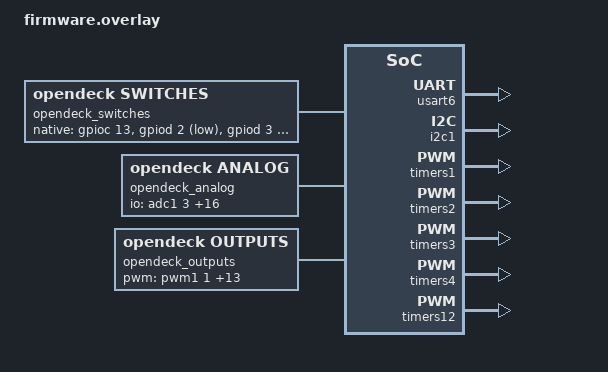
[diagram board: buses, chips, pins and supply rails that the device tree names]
/ {
    chosen {
        zephyr,console = &usart3;
        zephyr,shell-uart = &usart3;
    };

    opendeck_metadata: opendeck-metadata {
        compatible = "opendeck,metadata";
        zephyr-board = "nucleo_f767zi/stm32f767xx";
        board-name = "Nucleo F767ZI";
    };

    opendeck_transports: opendeck-transports {
        compatible = "opendeck,transports";
        uart = <&opendeck_uart_din_midi>;
        network;
    };

    opendeck_tests: opendeck-tests {
        compatible = "opendeck,tests";
        host;
    };

    opendeck_bulk_build: opendeck-bulk-build {
        compatible = "opendeck,bulk-build";
        app;
    };

    opendeck_switches: opendeck-switches {
        compatible = "opendeck,switches";
        mode = "native";
        native-gpios =
            <&gpioc 13 (GPIO_PULL_DOWN | GPIO_ACTIVE_HIGH)>,
            <&gpiod 2 (GPIO_PULL_UP | GPIO_ACTIVE_LOW)>,
            <&gpiod 3 (GPIO_PULL_UP | GPIO_ACTIVE_LOW)>,
            <&gpiod 4 (GPIO_PULL_UP | GPIO_ACTIVE_LOW)>,
            <&gpiod 5 (GPIO_PULL_UP | GPIO_ACTIVE_LOW)>,
            <&gpiod 6 (GPIO_PULL_UP | GPIO_ACTIVE_LOW)>,
            <&gpiod 7 (GPIO_PULL_UP | GPIO_ACTIVE_LOW)>,
            <&gpioe 2 (GPIO_PULL_UP | GPIO_ACTIVE_LOW)>,
            <&gpioe 3 (GPIO_PULL_UP | GPIO_ACTIVE_LOW)>,
            <&gpioe 4 (GPIO_PULL_UP | GPIO_ACTIVE_LOW)>,
            <&gpioe 5 (GPIO_PULL_UP | GPIO_ACTIVE_LOW)>,
            <&gpioe 6 (GPIO_PULL_UP | GPIO_ACTIVE_LOW)>,
            <&gpioe 7 (GPIO_PULL_UP | GPIO_ACTIVE_LOW)>,
            <&gpioe 8 (GPIO_PULL_UP | GPIO_ACTIVE_LOW)>,
            <&gpioe 9 (GPIO_PULL_UP | GPIO_ACTIVE_LOW)>,
            <&gpioe 10 (GPIO_PULL_UP | GPIO_ACTIVE_LOW)>,
            <&gpiob 6 (GPIO_PULL_UP | GPIO_ACTIVE_LOW)>,
            <&gpiob 12 (GPIO_PULL_UP | GPIO_ACTIVE_LOW)>,
            <&gpioc 10 (GPIO_PULL_UP | GPIO_ACTIVE_LOW)>,
            <&gpioc 11 (GPIO_PULL_UP | GPIO_ACTIVE_LOW)>,
            <&gpioc 12 (GPIO_PULL_UP | GPIO_ACTIVE_LOW)>,
            <&gpiod 0 (GPIO_PULL_UP | GPIO_ACTIVE_LOW)>,
            <&gpiod 1 (GPIO_PULL_UP | GPIO_ACTIVE_LOW)>,
            <&gpiod 10 (GPIO_PULL_UP | GPIO_ACTIVE_LOW)>,
            <&gpiod 11 (GPIO_PULL_UP | GPIO_ACTIVE_LOW)>,
            <&gpioe 0 (GPIO_PULL_UP | GPIO_ACTIVE_LOW)>,
            <&gpioe 1 (GPIO_PULL_UP | GPIO_ACTIVE_LOW)>,
            <&gpioe 11 (GPIO_PULL_UP | GPIO_ACTIVE_LOW)>,
            <&gpioe 12 (GPIO_PULL_UP | GPIO_ACTIVE_LOW)>,
            <&gpioe 13 (GPIO_PULL_UP | GPIO_ACTIVE_LOW)>,
            <&gpioe 15 (GPIO_PULL_UP | GPIO_ACTIVE_LOW)>,
            <&gpiof 0 (GPIO_PULL_UP | GPIO_ACTIVE_LOW)>,
            <&gpiof 1 (GPIO_PULL_UP | GPIO_ACTIVE_LOW)>,
            <&gpiof 2 (GPIO_PULL_UP | GPIO_ACTIVE_LOW)>,
            <&gpiof 11 (GPIO_PULL_UP | GPIO_ACTIVE_LOW)>,
            <&gpiof 12 (GPIO_PULL_UP | GPIO_ACTIVE_LOW)>,
            <&gpiof 13 (GPIO_PULL_UP | GPIO_ACTIVE_LOW)>,
            <&gpiof 14 (GPIO_PULL_UP | GPIO_ACTIVE_LOW)>,
            <&gpiof 15 (GPIO_PULL_UP | GPIO_ACTIVE_LOW)>,
            <&gpiog 0 (GPIO_PULL_UP | GPIO_ACTIVE_LOW)>,
            <&gpiog 1 (GPIO_PULL_UP | GPIO_ACTIVE_LOW)>,
            <&gpiog 2 (GPIO_PULL_UP | GPIO_ACTIVE_LOW)>,
            <&gpiog 3 (GPIO_PULL_UP | GPIO_ACTIVE_LOW)>,
            <&gpiog 4 (GPIO_PULL_UP | GPIO_ACTIVE_LOW)>,
            <&gpiog 5 (GPIO_PULL_UP | GPIO_ACTIVE_LOW)>,
            <&gpiog 6 (GPIO_PULL_UP | GPIO_ACTIVE_LOW)>,
            <&gpiog 7 (GPIO_PULL_UP | GPIO_ACTIVE_LOW)>,
            <&gpiog 8 (GPIO_PULL_UP | GPIO_ACTIVE_LOW)>,
            <&gpiog 9 (GPIO_PULL_UP | GPIO_ACTIVE_LOW)>,
            <&gpiog 10 (GPIO_PULL_UP | GPIO_ACTIVE_LOW)>,
            <&gpiog 14 (GPIO_PULL_UP | GPIO_ACTIVE_LOW)>,
            <&gpiog 15 (GPIO_PULL_UP | GPIO_ACTIVE_LOW)>;
    };

    opendeck_analog: opendeck-analog {
        compatible = "opendeck,analog";
        mode = "native";
        io-channels =
            <&adc1 3>,  /* A0 / PA3 */
            <&adc1 10>, /* A1 / PC0 */
            <&adc1 13>, /* A2 / PC3 */
            <&adc3 9>,  /* A3 / PF3 */
            <&adc3 15>, /* A4 / PF5 */
            <&adc3 8>,  /* A5 / PF10 */
            <&adc1 0>,  /* PA0 */
            <&adc1 4>,  /* PA4 */
            <&adc1 5>,  /* PA5 */
            <&adc1 6>,  /* PA6 */
            <&adc1 9>,  /* PB1 */
            <&adc1 12>, /* PC2 */
            <&adc3 14>, /* PF4 */
            <&adc3 4>,  /* PF6 */
            <&adc3 5>,  /* PF7 */
            <&adc3 6>,  /* PF8 */
            <&adc3 7>;  /* PF9 */
    };

    opendeck_outputs: opendeck-outputs {
        compatible = "opendeck,outputs";
        mode = "pwm";
        pwms =
            <&pwm1 1 PWM_MSEC(1) PWM_POLARITY_NORMAL>,
            <&pwm1 2 PWM_MSEC(1) PWM_POLARITY_NORMAL>,
            <&pwm1 3 PWM_MSEC(1) PWM_POLARITY_NORMAL>,
            <&pwm1 4 PWM_MSEC(1) PWM_POLARITY_NORMAL>,
            <&pwm2 3 PWM_MSEC(1) PWM_POLARITY_NORMAL>,
            <&pwm2 4 PWM_MSEC(1) PWM_POLARITY_NORMAL>,
            <&pwm3 2 PWM_MSEC(1) PWM_POLARITY_NORMAL>,
            <&pwm3 3 PWM_MSEC(1) PWM_POLARITY_NORMAL>,
            <&pwm3 4 PWM_MSEC(1) PWM_POLARITY_NORMAL>,
            <&pwm4 1 PWM_MSEC(1) PWM_POLARITY_NORMAL>,
            <&pwm4 2 PWM_MSEC(1) PWM_POLARITY_NORMAL>,
            <&pwm4 3 PWM_MSEC(1) PWM_POLARITY_NORMAL>,
            <&pwm4 4 PWM_MSEC(1) PWM_POLARITY_NORMAL>,
            <&pwm12 2 PWM_MSEC(1) PWM_POLARITY_NORMAL>;
    };

    opendeck_touchscreen: opendeck-touchscreen {
        compatible = "opendeck,touchscreen";
        component-count = <64>;
        uart = <&opendeck_uart_touchscreen>;
    };
    opendeck_i2c: opendeck-i2c {
        compatible = "opendeck,i2c";
        bus = <&opendeck_i2c_bus>;
    };
};

&usart6 {
    status = "okay";
};

&i2c1 {
    status = "okay";
};

&timers1 {
    status = "okay";
    st,prescaler = <3>;

    pwm1: pwm {
        status = "okay";
        pinctrl-0 = <&tim1_ch1_pa8 &tim1_ch2_pa9 &tim1_ch3_pa10 &tim1_ch4_pe14>;
        pinctrl-names = "default";
    };
};

&timers2 {
    status = "okay";
    st,prescaler = <3>;

    pwm2: pwm {
        status = "okay";
        pinctrl-0 = <&tim2_ch3_pb10 &tim2_ch4_pb11>;
        pinctrl-names = "default";
    };
};

&timers3 {
    status = "okay";
    st,prescaler = <3>;

    pwm3: pwm {
        status = "okay";
        pinctrl-0 = <&tim3_ch2_pb5 &tim3_ch3_pc8 &tim3_ch4_pc9>;
        pinctrl-names = "default";
    };
};

&timers4 {
    status = "okay";
    st,prescaler = <3>;

    pwm4: pwm {
        status = "okay";
        pinctrl-0 = <&tim4_ch1_pd12 &tim4_ch2_pd13 &tim4_ch3_pd14 &tim4_ch4_pd15>;
        pinctrl-names = "default";
    };
};

&timers12 {
    status = "okay";
    st,prescaler = <3>;

    pwm12: pwm {
        status = "okay";
        pinctrl-0 = <&tim12_ch2_pb15>;
        pinctrl-names = "default";
    };
};
